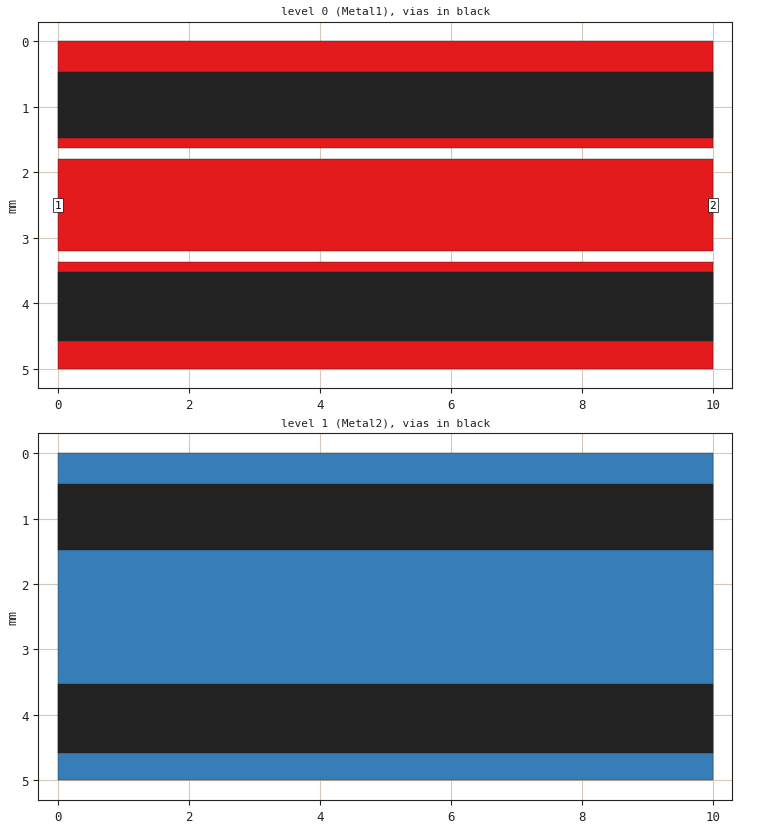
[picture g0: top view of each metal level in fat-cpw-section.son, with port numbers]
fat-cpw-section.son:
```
FTYP SONPROJ 17 ! Sonnet Project File
VER 17.52.2
HEADER
LIC antikernel2.1.48685 90e2ba8817c0 havequick azonenberg
DAT 03/06/2020 20:02:27
BUILT_BY_CREATED xgeom 16.56 07/03/2018 15:05:41
BUILT_BY_SAVED sonnet 17.52.2
MDATE 03/06/2020 20:01:13
HDATE 03/06/2020 20:01:13
END HEADER
DIM
ANG DEG
CAP PF
CON /OH
FREQ GHZ
IND NH
LNG MM
RES OH
END DIM
CONTROL
VARSWP
OPTIONS  -dj
SPEED 0
CACHE_ABS 1
Q_ACC N
END CONTROL
GEO
SYM
TMET "Free Space" 0 FREESPACE 376.7303136 0 0 0
BMET "Free Space" 0 FREESPACE 376.7303136 0 0 0
MET "Silver" 1 TMM 61700000 0.5 0.035 3
BOX 2 10 5 80 400 20 0
      1 1 1 0 0 0 0 "Air"
      1.524 3.5 1 0.0037 0 0 0 "Rogers RO4350B"
      1 1 1 0 0 0 0 "Substrate"
TECHLAY METAL Metal1 <UNSPECIFIED> -2 0 
0 0 0 N 0 1 1 100 100 0 0 0 Y
END
END
TECHLAY METAL Metal2 <UNSPECIFIED> -3 0 
1 0 -1 N 0 1 1 100 100 0 0 0 Y
END
END
VALVAR WIDTH LNG 1.4 "Dim. Param."
VALVAR TOPSPACE LNG 0.175 "Dim. Param."
VALVAR BOTSPACE LNG "TOPSPACE" "Dim. Param."
LORGN 0 250 U 
POR1 BOX
POLY 135 1
3
1 50 0 0 0 0 2.5 
POR1 BOX
POLY 135 1
1
2 50 0 0 0 10 2.5 
NUM 6
0 5 0 N 135 1 1 100 100 0 0 0 Y
TLAYNAM Metal1 INH
0 1.8
10 1.8
10 3.2
0 3.2
0 1.8
END
0 5 0 N 138 1 1 100 100 0 0 0 Y
TLAYNAM Metal1 INH
0 0
10 0
10 1.625
0 1.625
0 0
END
0 5 0 N 139 1 1 100 100 0 0 0 Y
TLAYNAM Metal1 INH
0 3.375
10 3.375
10 5
0 5
0 3.375
END
VIA POLYGON
0 5 -1 N 140 1 1 100 100 0 0 0 Y
TOLEVEL 1 RING NOCOVERS
0 0.475
10 0.475
10 1.475
0 1.475
0 0.475
END
VIA POLYGON
0 5 -1 N 141 1 1 100 100 0 0 0 Y
TOLEVEL 1 RING NOCOVERS
0 3.525
10 3.525
10 4.575
0 4.575
0 3.525
END
1 5 -1 N 144 1 1 100 100 0 0 0 Y
TLAYNAM Metal2 INH
0 0
10 0
10 5
0 5
0 0
END
END GEO
OPT
MAX 100
END OPT
VARSWP
SWPVARS ON
ENABLED Y
FREQ Y AY ABS_ENTRY 0.1 10.0 -1 300 
VAR WIDTH N 0.725 0.875 0.025
VAR TOPSPACE Y 0.15 0.225 0.025
END
END VARSWP
FILEOUT
FOLDER .
END FILEOUT
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```
